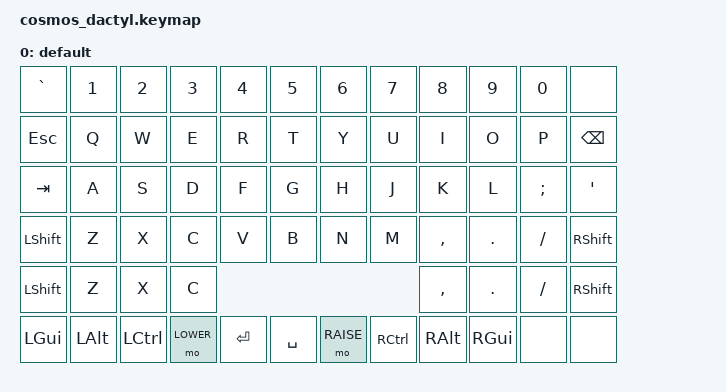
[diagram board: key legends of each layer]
/*
 * Copyright (c) 2020 The ZMK Contributors
 *
 * SPDX-License-Identifier: MIT
 */

#include <behaviors.dtsi>
#include <dt-bindings/zmk/keys.h>
#include <dt-bindings/zmk/bt.h>
#include <dt-bindings/zmk/rgb.h>
#include <dt-bindings/zmk/ext_power.h>

#define BASE 0
#define LOWER 1
#define RAISE 2
#define ADJUST 3

/ {

   // Activate ADJUST layer by pressing raise and lower
    conditional_layers {
        compatible = "zmk,conditional-layers";
        adjust_layer {
            if-layers = <LOWER RAISE>;
            then-layer = <ADJUST>;
        };
    };

    keymap {
        compatible = "zmk,keymap";

        default_layer {
            display-name = "default";
// ------------------------------------------------------------------------------------------------------------
// |   `   |  1  |  2  |  3   |  4   |  5   |                   |  6   |  7    |  8    |  9   |   0   |       |
// |  ESC  |  Q  |  W  |  E   |  R   |  T   |                   |  Y   |  U    |  I    |  O   |   P   | BKSPC |
// |  TAB  |  A  |  S  |  D   |  F   |  G   |                   |  H   |  J    |  K    |  L   |   ;   |   '   |
// | SHIFT |  Z  |  X  |  C   |  V   |  B   |  MUTE  |  |       |  N   |  M    |  ,    |  .   |   /   | SHIFT |
//               | GUI | ALT  | CTRL | LOWER|  ENTER |  | SPACE | RAISE| CTRL  | ALT   | GUI  |
            bindings = <
&kp GRAVE &kp N1   &kp N2    &kp N3     &kp N4    &kp N5        &kp N6    &kp N7     &kp N8    &kp N9   &kp N0   &none
&kp ESC   &kp Q    &kp W     &kp E      &kp R     &kp T         &kp Y     &kp U      &kp I     &kp O    &kp P    &kp BSPC
&kp TAB   &kp A    &kp S     &kp D      &kp F     &kp G         &kp H     &kp J      &kp K     &kp L    &kp SEMI &kp SQT
&kp LSHFT &kp Z    &kp X     &kp C      &kp V     &kp B         &kp N     &kp M      &kp COMMA &kp DOT  &kp FSLH &kp RSHFT
&kp LSHFT &kp Z    &kp X     &kp C                                                   &kp COMMA &kp DOT  &kp FSLH &kp RSHFT
&kp LGUI  &kp LALT &kp LCTRL &mo LOWER  &kp ENTER &kp SPACE     &mo RAISE  &kp RCTRL &kp RALT  &kp RGUI &none    &none
            >;
        };

        lower_layer {
            status = "reserved";
        };

        raise_layer {
            status = "reserved";
        };

        fn_layer {
            status = "reserved";
        };

    };
};
